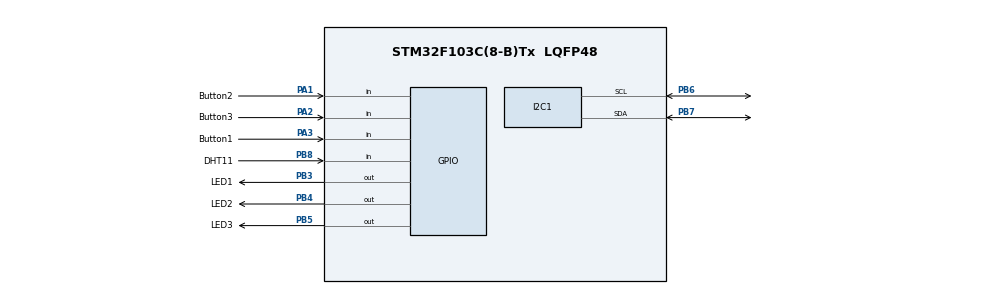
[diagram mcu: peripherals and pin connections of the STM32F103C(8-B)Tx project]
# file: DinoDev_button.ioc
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Mcu.Family=STM32F1
Mcu.Name=STM32F103C(8-B)Tx
Mcu.Package=LQFP48
NVIC.PriorityGroup=NVIC_PRIORITYGROUP_4
PA1.GPIO_Label=Button2
PA1.GPIO_PuPd=GPIO_PULLUP
PA1.Signal=GPIO_Input
PA13.Mode=Serial_Wire
PA13.Signal=SYS_JTMS-SWDIO
PA14.Mode=Serial_Wire
PA14.Signal=SYS_JTCK-SWCLK
PA2.GPIO_Label=Button3
PA2.GPIO_PuPd=GPIO_PULLUP
PA2.Signal=GPIO_Input
PA3.GPIO_Label=Button1
PA3.GPIO_PuPd=GPIO_PULLUP
PA3.Signal=GPIO_Input
PB3.GPIO_Label=LED1
PB3.PinState=GPIO_PIN_RESET
PB3.Signal=GPIO_Output
PB4.GPIO_Label=LED2
PB4.Signal=GPIO_Output
PB5.GPIO_Label=LED3
PB5.Signal=GPIO_Output
PB6.Mode=I2C
PB6.Signal=I2C1_SCL
PB7.Mode=I2C
PB7.Signal=I2C1_SDA
PB8.GPIO_Label=DHT11
PB8.Signal=GPIO_Input
PD0-OSC_IN.Mode=HSE-External-Oscillator
PD0-OSC_IN.Signal=RCC_OSC_IN
PD1-OSC_OUT.Mode=HSE-External-Oscillator
PD1-OSC_OUT.Signal=RCC_OSC_OUT
ProjectManager.HeapSize=0x200
ProjectManager.StackSize=0x400
ProjectManager.TargetToolchain=STM32CubeIDE
RCC.APB1Freq_Value=8000000
RCC.APB2Freq_Value=8000000
board=custom

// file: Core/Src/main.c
/* USER CODE BEGIN Header */
/**
 ******************************************************************************
 * @file           : main.c
 * @brief          : Main program body
 ******************************************************************************
 * @attention
 *
 * Copyright (c) 2023 STMicroelectronics.
 * All rights reserved.
 *
 * This software is licensed under terms that can be found in the LICENSE file
 * in the root directory of this software component.
 * If no LICENSE file comes with this software, it is provided AS-IS.
 *
 ******************************************************************************
 */
/* USER CODE END Header */
#include "main.h"

/* USER CODE BEGIN PTD */
// button structure
typedef struct
{
	uint16_t PIN;
	uint8_t StateFlag;
	GPIO_TypeDef *PORT;
} button;
/* USER CODE END PTD */

/* USER CODE BEGIN PD */
#define FALSE 0
#define TRUE !FALSE
/* USER CODE END PD */

I2C_HandleTypeDef hi2c1;

void SystemClock_Config(void);
static void MX_GPIO_Init(void);
static void MX_I2C1_Init(void);

/* USER CODE BEGIN 0 */
//button checking function
uint8_t Button_Check(button BTN)
{
	if (!HAL_GPIO_ReadPin(BTN.PORT, BTN.PIN) && !BTN.StateFlag)
	{
		BTN.StateFlag = TRUE;
		return TRUE;
	}
	else if (HAL_GPIO_ReadPin(BTN.PORT, BTN.PIN) && BTN.StateFlag)
	{
		BTN.StateFlag = FALSE;
		return FALSE;
	}
	return FALSE;
}
/* USER CODE END 0 */

int main(void)
{
	/* USER CODE BEGIN 1 */

	//defining our buttons
	button KEY1;
	button KEY2;
	button KEY3;
	/* USER CODE END 1 */

	/* MCU Configuration--------------------------------------------------------*/

	/* Reset of all peripherals, Initializes the Flash interface and the Systick. */
	HAL_Init();

	/* Configure the system clock */
	SystemClock_Config();

	/* USER CODE BEGIN SysInit */
	//wiring buttons to their pins
	KEY1.PIN = Button1_Pin;
	KEY1.PORT = Button1_GPIO_Port;
	KEY1.StateFlag = 0;

	KEY2.PIN = Button2_Pin;
	KEY2.PORT = Button2_GPIO_Port;
	KEY2.StateFlag = 0;

	KEY3.PIN = Button3_Pin;
	KEY3.PORT = Button3_GPIO_Port;
	KEY3.StateFlag = 0;
	/* USER CODE END SysInit */

	/* Initialize all configured peripherals */
	MX_GPIO_Init();
	MX_I2C1_Init();
	/* USER CODE BEGIN 2 */
	//setting flag for each pin
	GPIO_PinState LED1FLAG = GPIO_PIN_SET;
	GPIO_PinState LED2FLAG = GPIO_PIN_SET;
	GPIO_PinState LED3FLAG = GPIO_PIN_SET;
	/* USER CODE END 2 */

	/* Infinite loop */
	/* USER CODE BEGIN WHILE */
	while (1)
	{
		//checking each button if it was pressed change corresponding led state
		if (Button_Check(KEY1))
		{
			(LED1FLAG == GPIO_PIN_SET) ?
					(LED1FLAG = GPIO_PIN_RESET) : (LED1FLAG = GPIO_PIN_SET);
		}
		if (Button_Check(KEY2))
		{
			(LED2FLAG == GPIO_PIN_SET) ?
					(LED2FLAG = GPIO_PIN_RESET) : (LED2FLAG = GPIO_PIN_SET);
		}

		if (Button_Check(KEY3))
		{
			(LED3FLAG == GPIO_PIN_SET) ?
					(LED3FLAG = GPIO_PIN_RESET) : (LED3FLAG = GPIO_PIN_SET);
		}
		HAL_GPIO_WritePin(LED1_GPIO_Port, LED1_Pin, LED1FLAG);
		HAL_GPIO_WritePin(LED2_GPIO_Port, LED2_Pin, LED2FLAG);
		HAL_GPIO_WritePin(LED3_GPIO_Port, LED3_Pin, LED3FLAG);
		/* USER CODE END WHILE */
	}
}

void SystemClock_Config(void)
{
	RCC_OscInitTypeDef RCC_OscInitStruct =
	{ 0 };
	RCC_ClkInitTypeDef RCC_ClkInitStruct =
	{ 0 };

	/** Initializes the RCC Oscillators according to the specified parameters
	 * in the RCC_OscInitTypeDef structure.
	 */
	RCC_OscInitStruct.OscillatorType = RCC_OSCILLATORTYPE_HSI;
	RCC_OscInitStruct.HSIState = RCC_HSI_ON;
	RCC_OscInitStruct.HSICalibrationValue = RCC_HSICALIBRATION_DEFAULT;
	RCC_OscInitStruct.PLL.PLLState = RCC_PLL_NONE;
	if (HAL_RCC_OscConfig(&RCC_OscInitStruct) != HAL_OK)
	{
		Error_Handler();
	}

	/** Initializes the CPU, AHB and APB buses clocks
	 */
	RCC_ClkInitStruct.ClockType = RCC_CLOCKTYPE_HCLK | RCC_CLOCKTYPE_SYSCLK
			| RCC_CLOCKTYPE_PCLK1 | RCC_CLOCKTYPE_PCLK2;
	RCC_ClkInitStruct.SYSCLKSource = RCC_SYSCLKSOURCE_HSI;
	RCC_ClkInitStruct.AHBCLKDivider = RCC_SYSCLK_DIV1;
	RCC_ClkInitStruct.APB1CLKDivider = RCC_HCLK_DIV1;
	RCC_ClkInitStruct.APB2CLKDivider = RCC_HCLK_DIV1;

	if (HAL_RCC_ClockConfig(&RCC_ClkInitStruct, FLASH_LATENCY_0) != HAL_OK)
	{
		Error_Handler();
	}
}

static void MX_I2C1_Init(void)
{

	hi2c1.Instance = I2C1;
	hi2c1.Init.ClockSpeed = 100000;
	hi2c1.Init.DutyCycle = I2C_DUTYCYCLE_2;
	hi2c1.Init.OwnAddress1 = 0;
	hi2c1.Init.AddressingMode = I2C_ADDRESSINGMODE_7BIT;
	hi2c1.Init.DualAddressMode = I2C_DUALADDRESS_DISABLE;
	hi2c1.Init.OwnAddress2 = 0;
	hi2c1.Init.GeneralCallMode = I2C_GENERALCALL_DISABLE;
	hi2c1.Init.NoStretchMode = I2C_NOSTRETCH_DISABLE;
	if (HAL_I2C_Init(&hi2c1) != HAL_OK)
	{
		Error_Handler();
	}

}

static void MX_GPIO_Init(void)
{
	GPIO_InitTypeDef GPIO_InitStruct =
	{ 0 };

	/* GPIO Ports Clock Enable */
	__HAL_RCC_GPIOD_CLK_ENABLE();
	__HAL_RCC_GPIOA_CLK_ENABLE();
	__HAL_RCC_GPIOB_CLK_ENABLE();

	/*Configure GPIO pin Output Level */
	HAL_GPIO_WritePin(GPIOB, LED1_Pin | LED2_Pin | LED3_Pin, GPIO_PIN_RESET);

	/*Configure GPIO pins : Button2_Pin Button3_Pin Button1_Pin */
	GPIO_InitStruct.Pin = Button2_Pin | Button3_Pin | Button1_Pin;
	GPIO_InitStruct.Mode = GPIO_MODE_INPUT;
	GPIO_InitStruct.Pull = GPIO_PULLUP;
	HAL_GPIO_Init(GPIOA, &GPIO_InitStruct);

	/*Configure GPIO pins : LED1_Pin LED2_Pin LED3_Pin */
	GPIO_InitStruct.Pin = LED1_Pin | LED2_Pin | LED3_Pin;
	GPIO_InitStruct.Mode = GPIO_MODE_OUTPUT_PP;
	GPIO_InitStruct.Pull = GPIO_NOPULL;
	GPIO_InitStruct.Speed = GPIO_SPEED_FREQ_LOW;
	HAL_GPIO_Init(GPIOB, &GPIO_InitStruct);

	/*Configure GPIO pin : DHT11_Pin */
	GPIO_InitStruct.Pin = DHT11_Pin;
	GPIO_InitStruct.Mode = GPIO_MODE_INPUT;
	GPIO_InitStruct.Pull = GPIO_NOPULL;
	HAL_GPIO_Init(DHT11_GPIO_Port, &GPIO_InitStruct);

}

void Error_Handler(void)
{
	__disable_irq();
	while (1)
	{
	}
}
